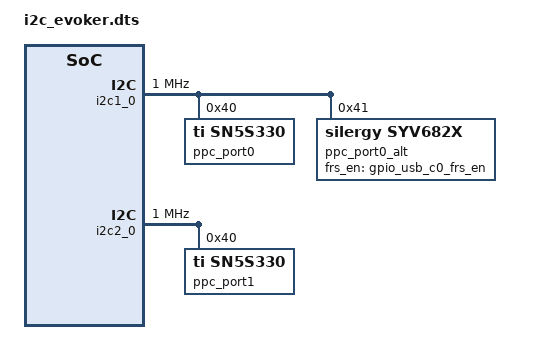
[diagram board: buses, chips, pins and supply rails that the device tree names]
/* Copyright 2021 The Chromium OS Authors. All rights reserved.
 * Use of this source code is governed by a BSD-style license that can be
 * found in the LICENSE file.
 */

&i2c1_0 {
	label = "I2C_USB_C0_PD";
	status = "okay";
	clock-frequency = <I2C_BITRATE_FAST_PLUS>;
	pinctrl-0 = <&i2c1_0_sda_scl_gp87_90>;
	pinctrl-names = "default";
	ppc_port0: sn5s330@40 {
		compatible = "ti,sn5s330";
		status = "okay";
		reg = <0x40>;
	};
	ppc_port0_alt: syv682x@41 {
		compatible = "silergy,syv682x";
		status = "okay";
		reg = <0x41>;
		frs_en_gpio = <&gpio_usb_c0_frs_en>;
	};
};

&i2c2_0 {
	label = "I2C_USB_C1_PD";
	status = "okay";
	clock-frequency = <I2C_BITRATE_FAST_PLUS>;
	pinctrl-0 = <&i2c2_0_sda_scl_gp91_92>;
	pinctrl-names = "default";
	ppc_port1: sn5s330@40 {
		compatible = "ti,sn5s330";
		status = "okay";
		reg = <0x40>;
	};
};
